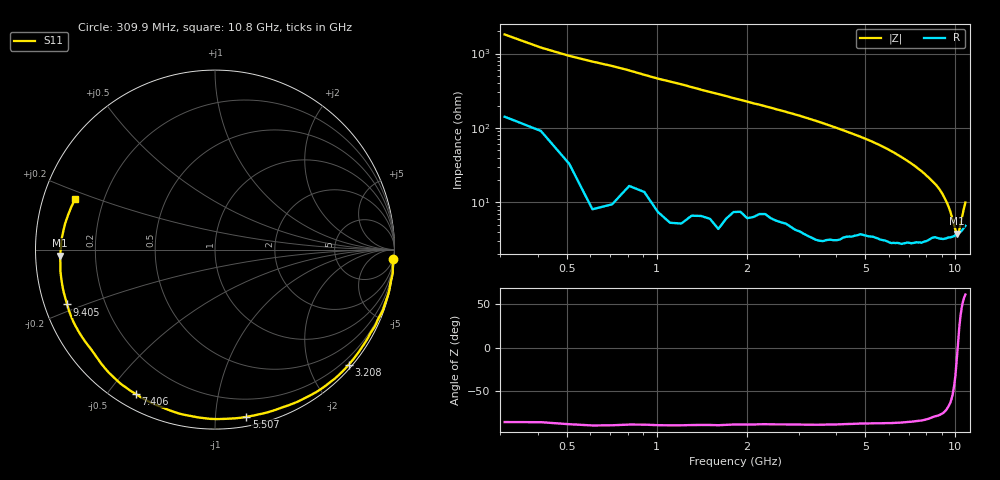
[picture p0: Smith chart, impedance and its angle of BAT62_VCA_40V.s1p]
! Infineon Technologies  Discrete & RF Semiconductors
! BAT62
! VCA = 40 V
! One-Port S-Parameters
# Hz  S  MA  R  50
!f  S11
!Hz  Mag  Ang
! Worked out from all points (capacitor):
!   106 points, 309.9 MHz to 10.8 GHz, reference 50 ohm
!   read as one part to ground: C = 323 fF near 309.9 MHz
!   lowest |Z| = 3.79 ohm at 10.1 GHz (marker M1)
!   series resonance near 10.18 GHz, so ESL is about 760 pH
!   S11 on the Smith chart (normalised r, x): 309.9 MHz: 3, -36; 3.208 GHz: 0.07, -2.69; 5.507 GHz: 0.07, -1.20; 7.406 GHz: 0.06, -0.59; 9.405 GHz: 0.07, -0.18; 10.8 GHz: 0.10, +0.17
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3.0985e8  0.9957 -3.2
5.0975e8  0.9962 -6.1
1.10945e9  0.997 -13.6
1.70915e9  0.9919 -21.2
2.4088e9  0.9838 -29.9
3.0085e9  0.9831 -37.8
3.2084e9  0.983 -40.7
3.6082e9  0.9812 -46.8
4.30785e9  0.9681 -58.1
5.0075e9  0.954 -70.1
5.50725e9  0.9482 -79.4
5.6072e9  0.9478 -81.3
6.007e9  0.9442 -89.4
6.30685e9  0.9396 -95.7
6.6067e9  0.9354 -102.1
6.90655e9  0.9271 -108.4
7.4063e9  0.9173 -118.8
7.70615e9  0.9139 -124.9
8.2059e9  0.8969 -135.1
8.8056e9  0.8865 -146.4
9.10545e9  0.8857 -152.9
9.4053e9  0.8788 -159.7
9.50525e9  0.8765 -162.0
9.8051e9  0.8716 -169.4
1.010495e10  0.8633 -177.8
1.030485e10  0.8569 176.3
1.050475e10  0.8475 170.1
1.08046e10  0.8287 160.2
